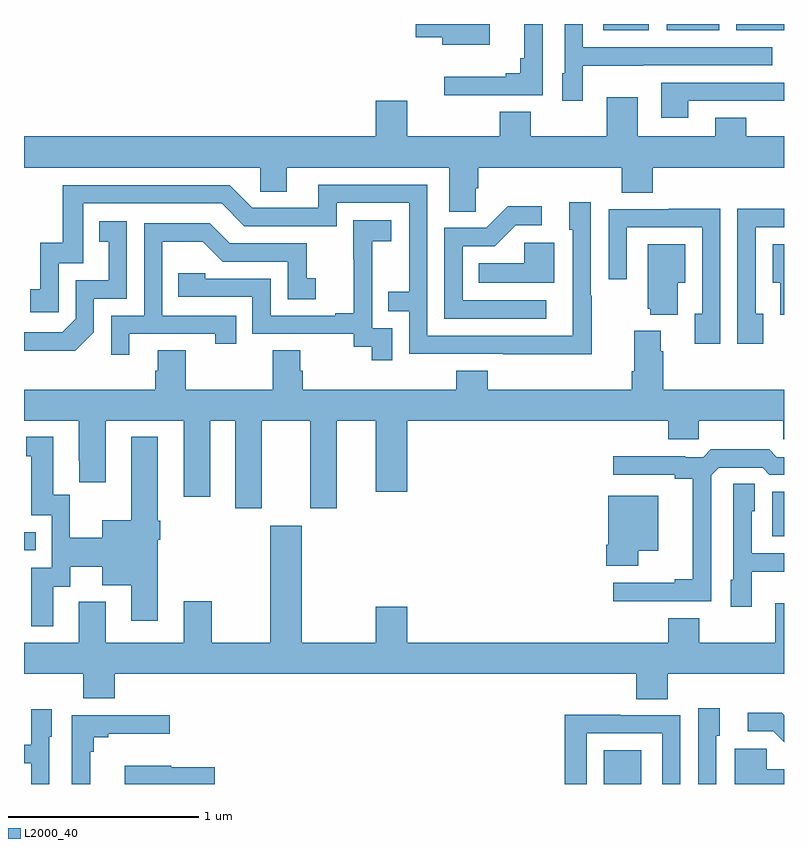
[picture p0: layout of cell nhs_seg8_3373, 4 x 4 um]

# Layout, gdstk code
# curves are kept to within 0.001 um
import gdstk
lib = gdstk.Library(unit=1e-6, precision=1e-09)
def R(c, l, rs):  # rectangles x0, y0, x1, y1
    for r in rs: c.add(gdstk.rectangle(r[:2], r[2:], *l))
def P(c, l, *ps):  # polygons
    for p in ps: c.add(gdstk.Polygon(p, *l))
L2000_40 = (2000, 40)

nhs_seg8_3373 = lib.new_cell('nhs_seg8_3373')
R(nhs_seg8_3373, L2000_40, [(322.052,1135.9,322.249,1136.077), (319,1137.129,319.061,1137.225), (322.937,1137.203,323,1137.439), (322.049,1139.867,322.288,1139.9), (322.382,1139.867,322.66,1139.9), (322.749,1139.868,323,1139.9)])
P(nhs_seg8_3373, L2000_40, [(321.451,1139.9),(321.063,1139.9),(321.063,1139.831),(321.2,1139.831),(321.2,1139.792),(321.451,1139.792)],
  [(321.942,1139.681),(322.259,1139.681),(322.259,1139.682),(322.937,1139.682),(322.937,1139.778),(321.942,1139.778),(321.942,1139.9),(321.846,1139.9),(321.846,1139.64),(321.833,1139.64),(321.833,1139.496),(321.942,1139.496)],
  [(321.729,1139.9),(321.632,1139.9),(321.632,1139.719),(321.613,1139.719),(321.613,1139.642),(321.536,1139.642),(321.536,1139.623),(321.213,1139.623),(321.213,1139.526),(321.729,1139.526)],
  [(322.495,1139.496),(322.925,1139.496),(322.925,1139.495),(323,1139.495),(323,1139.592),(322.355,1139.592),(322.355,1139.406),(322.495,1139.406)],
  [(321.378,1139.035),(321.392,1139.035),(321.392,1139.144),(322.145,1139.144),(322.145,1139.011),(322.31,1139.011),(322.31,1139.144),(323,1139.144),(323,1139.308),(322.801,1139.308),(322.801,1139.407),(322.637,1139.407),(322.637,1139.308),(322.231,1139.308),(322.231,1139.515),(322.067,1139.515),(322.067,1139.308),(321.667,1139.308),(321.667,1139.437),(321.503,1139.437),(321.503,1139.308),(321.016,1139.308),(321.016,1139.497),(320.852,1139.497),(320.852,1139.308),(319,1139.308),(319,1139.144),(320.244,1139.144),(320.244,1139.017),(320.383,1139.017),(320.383,1139.144),(321.239,1139.144),(321.239,1138.912),(321.378,1138.912)],
  [(321.987,1138.469),(321.984,1138.469),(321.984,1138.963),(321.869,1138.963),(321.869,1138.818),(321.888,1138.818),(321.887,1138.26),(321.123,1138.26),(321.123,1139.055),(320.549,1139.055),(320.549,1138.932),(320.202,1138.932),(320.082,1139.052),(319.203,1139.052),(319.203,1138.75),(319.085,1138.75),(319.085,1138.503),(319.032,1138.503),(319.032,1138.383),(319.182,1138.383),(319.182,1138.641),(319.311,1138.641),(319.311,1138.956),(320.04,1138.956),(320.16,1138.836),(320.646,1138.836),(320.646,1138.959),(321.027,1138.959),(321.027,1138.49),(320.917,1138.49),(320.917,1138.389),(321.027,1138.389),(321.027,1138.164),(321.987,1138.163)],
  [(321.748,1138.446),(321.309,1138.446),(321.309,1138.731),(321.478,1138.731),(321.589,1138.842),(321.724,1138.842),(321.724,1138.94),(321.545,1138.94),(321.432,1138.827),(321.213,1138.827),(321.213,1138.35),(321.748,1138.35)],
  [(322.891,1138.374),(322.851,1138.374),(322.851,1138.83),(323,1138.83),(323,1138.928),(322.755,1138.928),(322.755,1138.218),(322.891,1138.218)],
  [(322.665,1138.928),(322.393,1138.928),(322.393,1138.926),(322.077,1138.926),(322.077,1138.557),(322.173,1138.557),(322.173,1138.83),(322.569,1138.83),(322.569,1138.374),(322.529,1138.374),(322.529,1138.218),(322.665,1138.218)],
  [(320.937,1138.299),(320.832,1138.299),(320.832,1138.529),(320.834,1138.529),(320.834,1138.757),(320.932,1138.757),(320.932,1138.867),(320.734,1138.867),(320.734,1138.661),(320.735,1138.661),(320.735,1138.378),(320.639,1138.378),(320.639,1138.365),(320.298,1138.365),(320.298,1138.56),(319.953,1138.56),(319.953,1138.587),(319.813,1138.587),(319.813,1138.464),(320.202,1138.464),(320.202,1138.269),(320.736,1138.269),(320.736,1138.201),(320.829,1138.201),(320.829,1138.131),(320.937,1138.131)],
  [(319.368,1138.278),(319.368,1138.455),(319.542,1138.455),(319.542,1138.861),(319.396,1138.861),(319.396,1138.755),(319.445,1138.755),(319.445,1138.551),(319.272,1138.551),(319.272,1138.35),(319.2,1138.278),(319,1138.278),(319,1138.181),(319.27,1138.181)],
  [(319.555,1138.269),(320.006,1138.269),(320.006,1138.218),(320.117,1138.218),(320.117,1138.365),(319.728,1138.365),(319.728,1138.754),(319.942,1138.754),(320.046,1138.65),(320.388,1138.65),(320.388,1138.452),(320.536,1138.452),(320.536,1138.561),(320.487,1138.561),(320.487,1138.746),(320.083,1138.746),(319.978,1138.851),(319.632,1138.851),(319.632,1138.365),(319.458,1138.365),(319.458,1138.158),(319.555,1138.158)],
  [(321.79,1138.75),(321.633,1138.75),(321.633,1138.642),(321.394,1138.642),(321.394,1138.538),(321.79,1138.538)],
  [(323,1138.741),(322.94,1138.741),(322.94,1138.538),(322.979,1138.538),(322.979,1138.37),(323,1138.37)],
  [(322.441,1138.538),(322.48,1138.538),(322.48,1138.741),(322.283,1138.741),(322.283,1138.401),(322.295,1138.401),(322.295,1138.37),(322.441,1138.37)],
  [(319.851,1138.184),(319.703,1138.184),(319.703,1138.074),(319.691,1138.074),(319.691,1137.976),(319,1137.976),(319,1137.812),(319.289,1137.812),(319.289,1137.601),(319.29,1137.601),(319.29,1137.489),(319.429,1137.489),(319.429,1137.812),(319.841,1137.812),(319.841,1137.411),(319.981,1137.411),(319.981,1137.812),(320.111,1137.812),(320.111,1137.351),(320.251,1137.351),(320.251,1137.812),(320.507,1137.812),(320.507,1137.351),(320.647,1137.351),(320.647,1137.812),(320.852,1137.812),(320.852,1137.438),(321.016,1137.438),(321.016,1137.812),(322.391,1137.812),(322.391,1137.714),(322.551,1137.714),(322.551,1137.812),(322.996,1137.812),(322.996,1137.714),(323,1137.714),(323,1137.976),(322.364,1137.976),(322.364,1138.178),(322.351,1138.178),(322.351,1138.285),(322.211,1138.285),(322.211,1138.072),(322.199,1138.072),(322.199,1137.976),(321.44,1137.976),(321.44,1138.075),(321.275,1138.075),(321.275,1137.976),(320.468,1137.976),(320.468,1138.074),(320.455,1138.074),(320.455,1138.184),(320.308,1138.184),(320.308,1137.976),(319.851,1137.976)],
  [(319.153,1136.938),(319.243,1136.938),(319.243,1137.044),(319.412,1137.044),(319.412,1136.945),(319.565,1136.945),(319.565,1136.76),(319.705,1136.76),(319.705,1137.185),(319.718,1137.185),(319.718,1137.285),(319.705,1137.285),(319.705,1137.727),(319.565,1137.727),(319.565,1137.289),(319.412,1137.289),(319.412,1137.196),(319.242,1137.196),(319.242,1137.423),(319.153,1137.423),(319.153,1137.727),(319.013,1137.727),(319.013,1137.624),(319.037,1137.624),(319.037,1137.315),(319.146,1137.315),(319.146,1137.039),(319.037,1137.039),(319.037,1136.73),(319.153,1136.73)],
  [(322.617,1137.525),(322.656,1137.564),(322.887,1137.564),(322.923,1137.528),(323,1137.528),(323,1137.621),(322.962,1137.621),(322.923,1137.661),(322.615,1137.661),(322.575,1137.621),(322.481,1137.621),(322.481,1137.626),(322.101,1137.626),(322.101,1137.528),(322.424,1137.528),(322.424,1137.506),(322.52,1137.506),(322.52,1136.978),(322.424,1136.978),(322.424,1136.958),(322.101,1136.958),(322.101,1136.862),(322.617,1136.862)],
  [(322.83,1137.017),(323,1137.017),(323,1137.114),(322.83,1137.114),(322.83,1137.336),(322.846,1137.336),(322.846,1137.479),(322.734,1137.479),(322.734,1136.976),(322.721,1136.976),(322.721,1136.832),(322.83,1136.832)],
  [(322.234,1137.128),(322.339,1137.128),(322.339,1137.418),(322.076,1137.418),(322.076,1137.16),(322.064,1137.16),(322.064,1137.048),(322.234,1137.048)],
  [(322.388,1136.48),(323,1136.48),(323,1136.851),(322.955,1136.851),(322.955,1136.644),(322.555,1136.644),(322.555,1136.773),(322.391,1136.773),(322.391,1136.644),(321.016,1136.644),(321.016,1136.833),(320.852,1136.833),(320.852,1136.644),(320.461,1136.644),(320.461,1137.259),(320.297,1137.259),(320.297,1136.644),(319.989,1136.644),(319.989,1136.863),(319.841,1136.863),(319.841,1136.644),(319.429,1136.644),(319.429,1136.86),(319.289,1136.86),(319.289,1136.644),(319,1136.644),(319,1136.48),(319.313,1136.48),(319.313,1136.352),(319.477,1136.352),(319.477,1136.48),(322.223,1136.48),(322.223,1136.347),(322.388,1136.347)],
  [(322.644,1136.154),(322.663,1136.154),(322.663,1136.299),(322.548,1136.299),(322.548,1135.9),(322.644,1135.9)],
  [(319.134,1136.148),(319.147,1136.148),(319.147,1136.293),(319.038,1136.293),(319.038,1136.107),(319,1136.107),(319,1136.01),(319.038,1136.01),(319.038,1135.9),(319.134,1135.9)],
  [(323,1136.263),(322.987,1136.276),(322.809,1136.276),(322.809,1136.178),(322.943,1136.178),(323,1136.121)],
  [(321.963,1136.166),(322.359,1136.166),(322.359,1135.9),(322.455,1135.9),(322.455,1136.262),(322.139,1136.262),(322.139,1136.264),(321.847,1136.264),(321.847,1135.9),(321.963,1135.9)],
  [(319.349,1136.069),(319.367,1136.069),(319.367,1136.146),(319.444,1136.146),(319.444,1136.165),(319.768,1136.165),(319.768,1136.262),(319.251,1136.262),(319.251,1135.9),(319.349,1135.9)],
  [(323,1135.978),(322.908,1135.978),(322.908,1136.086),(322.742,1136.086),(322.742,1135.9),(323,1135.9)],
  [(320.005,1135.988),(319.776,1135.988),(319.776,1135.996),(319.529,1135.996),(319.529,1135.9),(320.005,1135.9)])

lib.write_gds('nhs_seg8_3373.gds')
